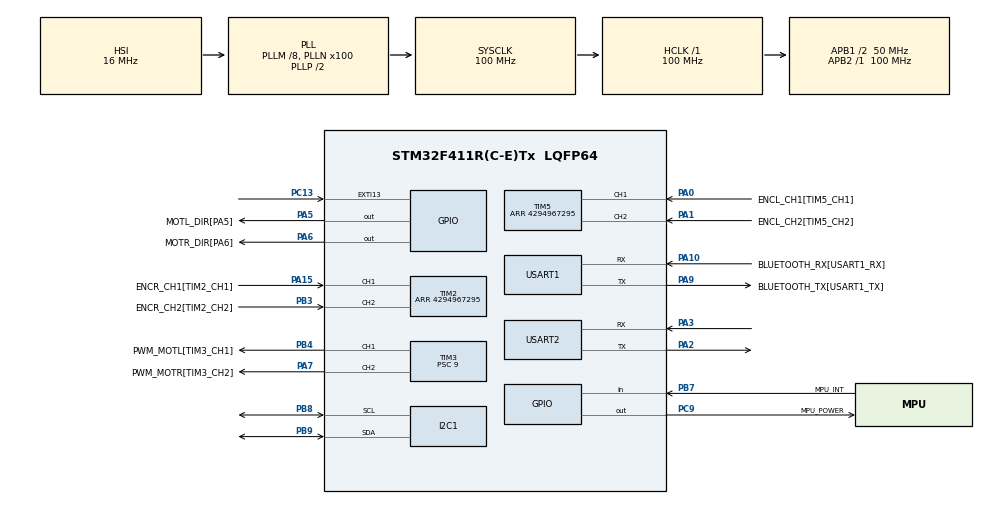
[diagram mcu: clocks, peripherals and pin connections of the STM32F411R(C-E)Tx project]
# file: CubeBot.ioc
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I2C1.I2C_Mode=I2C_Fast
Mcu.Family=STM32F4
Mcu.Name=STM32F411R(C-E)Tx
Mcu.Package=LQFP64
NVIC.I2C1_EV_IRQn=true\:0\:0\:false\:false\:true\:true
NVIC.PriorityGroup=NVIC_PRIORITYGROUP_0
NVIC.USART1_IRQn=true\:0\:0\:false\:false\:true\:true
NVIC.USART2_IRQn=true\:0\:0\:false\:false\:true\:true
PA0-WKUP.GPIO_Label=ENCL_CH1[TIM5_CH1]
PA0-WKUP.GPIO_ModeDefaultPP=GPIO_MODE_AF_PP
PA0-WKUP.GPIO_PuPd=GPIO_NOPULL
PA0-WKUP.GPIO_Speed=GPIO_SPEED_FREQ_LOW
PA0-WKUP.Signal=S_TIM5_CH1
PA1.GPIO_Label=ENCL_CH2[TIM5_CH2]
PA1.GPIO_ModeDefaultPP=GPIO_MODE_AF_PP
PA1.GPIO_PuPd=GPIO_NOPULL
PA1.GPIO_Speed=GPIO_SPEED_FREQ_LOW
PA1.Signal=S_TIM5_CH2
PA10.GPIO_Label=BLUETOOTH_RX[USART1_RX]
PA10.GPIO_Mode=GPIO_MODE_AF_PP
PA10.GPIO_PuPd=GPIO_PULLUP
PA10.GPIO_Speed=GPIO_SPEED_FREQ_VERY_HIGH
PA10.Mode=Asynchronous
PA10.Signal=USART1_RX
PA13.Signal=SYS_JTMS-SWDIO
PA14.Signal=SYS_JTCK-SWCLK
PA15.GPIO_Label=ENCR_CH1[TIM2_CH1]
PA15.GPIO_ModeDefaultPP=GPIO_MODE_AF_PP
PA15.GPIO_PuPd=GPIO_NOPULL
PA15.GPIO_Speed=GPIO_SPEED_FREQ_LOW
PA15.Signal=S_TIM2_CH1_ETR
PA2.GPIO_Mode=GPIO_MODE_AF_PP
PA2.GPIO_PuPd=GPIO_PULLUP
PA2.GPIO_Speed=GPIO_SPEED_FREQ_VERY_HIGH
PA2.Mode=Asynchronous
PA2.Signal=USART2_TX
PA3.GPIO_Mode=GPIO_MODE_AF_PP
PA3.GPIO_PuPd=GPIO_PULLUP
PA3.GPIO_Speed=GPIO_SPEED_FREQ_VERY_HIGH
PA3.Mode=Asynchronous
PA3.Signal=USART2_RX
PA5.GPIO_Label=MOTL_DIR[PA5]
PA5.Signal=GPIO_Output
PA6.GPIO_Label=MOTR_DIR[PA6]
PA6.Signal=GPIO_Output
PA7.GPIO_Label=PWM_MOTR[TIM3_CH2]
PA7.GPIO_ModeDefaultPP=GPIO_MODE_AF_PP
PA7.GPIO_PuPd=GPIO_NOPULL
PA7.GPIO_Speed=GPIO_SPEED_FREQ_LOW
PA7.Signal=S_TIM3_CH2
PA9.GPIO_Label=BLUETOOTH_TX[USART1_TX]
PA9.GPIO_Mode=GPIO_MODE_AF_PP
PA9.GPIO_PuPd=GPIO_PULLUP
PA9.GPIO_Speed=GPIO_SPEED_FREQ_VERY_HIGH
PA9.Mode=Asynchronous
PA9.Signal=USART1_TX
PB3.GPIO_Label=ENCR_CH2[TIM2_CH2]
PB3.GPIO_ModeDefaultPP=GPIO_MODE_AF_PP
PB3.GPIO_PuPd=GPIO_NOPULL
PB3.GPIO_Speed=GPIO_SPEED_FREQ_LOW
PB3.Signal=S_TIM2_CH2
PB4.GPIO_Label=PWM_MOTL[TIM3_CH1]
PB4.GPIO_ModeDefaultPP=GPIO_MODE_AF_PP
PB4.GPIO_PuPd=GPIO_NOPULL
PB4.GPIO_Speed=GPIO_SPEED_FREQ_LOW
PB4.Signal=S_TIM3_CH1
PB7.GPIO_Label=MPU_INT
PB7.GPIO_PuPd=GPIO_NOPULL
PB7.Signal=GPIO_Input
PB8.GPIO_Mode=GPIO_MODE_AF_OD
PB8.GPIO_PuPdOD=GPIO_PULLUP
PB8.GPIO_Speed=GPIO_SPEED_FREQ_VERY_HIGH
PB8.Mode=I2C
PB8.Signal=I2C1_SCL
PB9.GPIO_Mode=GPIO_MODE_AF_OD
PB9.GPIO_PuPdOD=GPIO_PULLUP
PB9.GPIO_Speed=GPIO_SPEED_FREQ_VERY_HIGH
PB9.Mode=I2C
PB9.Signal=I2C1_SDA
PC13-ANTI_TAMP.GPIO_ModeDefaultEXTI=GPIO_MODE_IT_RISING
PC13-ANTI_TAMP.GPIO_PuPd=GPIO_NOPULL
PC13-ANTI_TAMP.Signal=GPXTI13
PC14-OSC32_IN.Signal=RCC_OSC32_IN
PC15-OSC32_OUT.Signal=RCC_OSC32_OUT
PC9.GPIO_Label=MPU_POWER
PC9.GPIO_Speed=GPIO_SPEED_FREQ_HIGH
PC9.PinState=GPIO_PIN_RESET
PC9.Signal=GPIO_Output
PH0\ -\ OSC_IN.Signal=RCC_OSC_IN
PH1\ -\ OSC_OUT.Signal=RCC_OSC_OUT
ProjectManager.HeapSize=0x200
ProjectManager.StackSize=0x400
ProjectManager.TargetToolchain=TrueSTUDIO
RCC.48MHZClocksFreq_Value=50000000
RCC.AHBFreq_Value=100000000
RCC.APB1CLKDivider=RCC_HCLK_DIV2
RCC.APB1Freq_Value=50000000
RCC.APB1TimFreq_Value=100000000
RCC.APB2Freq_Value=100000000
RCC.APB2TimFreq_Value=100000000
RCC.CortexFreq_Value=100000000
RCC.FLatency-AdvancedSettings=FLASH_LATENCY_3
RCC.HCLKFreq_Value=100000000
RCC.HSE_VALUE=8000000
RCC.HSI_VALUE=16000000
RCC.LSE_VALUE=32768
RCC.PLLM=8
RCC.PLLN=100
RCC.SYSCLKFreq_VALUE=100000000
RCC.SYSCLKSource=RCC_SYSCLKSOURCE_PLLCLK
RCC.VCOOutputFreq_Value=200000000
SH.S_TIM2_CH1_ETR.0=TIM2_CH1,Encoder_Interface
SH.S_TIM2_CH2.0=TIM2_CH2,Encoder_Interface
SH.S_TIM3_CH1.0=TIM3_CH1,PWM Generation1 CH1
SH.S_TIM3_CH2.0=TIM3_CH2,PWM Generation2 CH2
SH.S_TIM5_CH1.0=TIM5_CH1,Encoder_Interface
SH.S_TIM5_CH2.0=TIM5_CH2,Encoder_Interface
TIM1.Period=65535
TIM1.Prescaler=79
TIM1.TIM_MasterOutputTrigger=TIM_TRGO_UPDATE
TIM1.TIM_MasterSlaveMode=TIM_MASTERSLAVEMODE_ENABLE
TIM2.EncoderMode=TIM_ENCODERMODE_TI12
TIM2.Period=4294967295
TIM3.Channel-PWM\ Generation1\ CH1=TIM_CHANNEL_1
TIM3.Channel-PWM\ Generation2\ CH2=TIM_CHANNEL_2
TIM3.Period=65535
TIM3.Prescaler=9
TIM3.Pulse-PWM\ Generation2\ CH2=0
TIM4.Period=65535
TIM5.EncoderMode=TIM_ENCODERMODE_TI12
TIM5.Period=4294967295
USART1.VirtualMode=VM_ASYNC
USART2.VirtualMode=VM_ASYNC
VP_TIM1_VS_ClockSourceINT.Mode=Internal
VP_TIM3_VS_ClockSourceINT.Mode=Internal
VP_TIM4_VS_ClockSourceITR.Mode=TriggerSource_ITR0
VP_TIM4_VS_ControllerModeClock.Mode=Clock Mode
board=NUCLEO-F411RE

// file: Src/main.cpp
/**
 ******************************************************************************
 * File Name          : main.c
 * Description        : Main program body
 ******************************************************************************
 ** This notice applies to any and all portions of this file
 * that are not between comment pairs USER CODE BEGIN and
 * USER CODE END. Other portions of this file, whether
 * inserted by the user or by software development tools
 * are owned by their respective copyright owners.
 *
 * COPYRIGHT(c) 2017 STMicroelectronics
 *
 * Redistribution and use in source and binary forms, with or without modification,
 * are permitted provided that the following conditions are met:
 *   1. Redistributions of source code must retain the above copyright notice,
 *      this list of conditions and the following disclaimer.
 *   2. Redistributions in binary form must reproduce the above copyright notice,
 *      this list of conditions and the following disclaimer in the documentation
 *      and/or other materials provided with the distribution.
 *   3. Neither the name of STMicroelectronics nor the names of its contributors
 *      may be used to endorse or promote products derived from this software
 *      without specific prior written permission.
 *
 * THIS SOFTWARE IS PROVIDED BY THE COPYRIGHT HOLDERS AND CONTRIBUTORS "AS IS"
 * AND ANY EXPRESS OR IMPLIED WARRANTIES, INCLUDING, BUT NOT LIMITED TO, THE
 * IMPLIED WARRANTIES OF MERCHANTABILITY AND FITNESS FOR A PARTICULAR PURPOSE ARE
 * DISCLAIMED. IN NO EVENT SHALL THE COPYRIGHT HOLDER OR CONTRIBUTORS BE LIABLE
 * FOR ANY DIRECT, INDIRECT, INCIDENTAL, SPECIAL, EXEMPLARY, OR CONSEQUENTIAL
 * DAMAGES (INCLUDING, BUT NOT LIMITED TO, PROCUREMENT OF SUBSTITUTE GOODS OR
 * SERVICES; LOSS OF USE, DATA, OR PROFITS; OR BUSINESS INTERRUPTION) HOWEVER
 * CAUSED AND ON ANY THEORY OF LIABILITY, WHETHER IN CONTRACT, STRICT LIABILITY,
 * OR TORT (INCLUDING NEGLIGENCE OR OTHERWISE) ARISING IN ANY WAY OUT OF THE USE
 * OF THIS SOFTWARE, EVEN IF ADVISED OF THE POSSIBILITY OF SUCH DAMAGE.
 *
 ******************************************************************************
 */
#include <IOSerialStream.h>
#include "main.h"
#include "stm32f4xx_hal.h"
#include "i2c.h"
#include "tim.h"
#include "usart.h"
#include "gpio.h"

/* USER CODE BEGIN Includes */
#include "Motors.h"
#include "MPU6050.h"
#include "Timer.h"
#include "BTCom.h"
#include "Encoder.h"
#include "Tests.h"
#include "Regulation.h"
#include "EEvar.h"

#include <string>

/* USER CODE END Includes */

/* USER CODE BEGIN PV */
/* Private variables ---------------------------------------------------------*/

/* USER CODE END PV */

void SystemClock_Config(void);

/* USER CODE BEGIN PFP */
/* Private function prototypes -----------------------------------------------*/

/* USER CODE END PFP */

/* USER CODE BEGIN 0 */
IOSerialStream serialUSB(&huart2) ;
BTCom serialHC06(&huart1) ;

/* USER CODE END 0 */

int main(void)
{

	/* MCU Configuration----------------------------------------------------------*/

	/* Reset of all peripherals, Initializes the Flash interface and the Systick. */
	HAL_Init();

	/* Configure the system clock */
	SystemClock_Config();

	/* Initialize all configured peripherals */
	MX_GPIO_Init();
	MX_USART1_UART_Init();
	MX_USART2_UART_Init();
	MX_I2C1_Init();
	MX_TIM3_Init();
	MX_TIM5_Init();
	MX_TIM2_Init();
	MX_TIM1_Init();
	MX_TIM4_Init();

	/* USER CODE BEGIN 2 */
	// creation of alias on HAL handles to make code more readable
	// Timers
	TIM_HandleTypeDef &htim3_PWM=htim3;
	TIM_HandleTypeDef &htim1_timebaseLSB=htim1;
	TIM_HandleTypeDef &htim4_timebaseMSB=htim4;
	TIM_HandleTypeDef &htim2_encoderRight=htim2;
	TIM_HandleTypeDef &htim5_encoderLeft=htim5;
	TIM_initPrescaler(&htim1_timebaseLSB,1000000);
	HAL_TIM_Base_Start_IT(&htim4_timebaseMSB);
	HAL_TIM_Base_Start_IT(&htim1_timebaseLSB);
	Timer::initHandlers(&htim4_timebaseMSB,&htim1_timebaseLSB);

	// UART
	UART_HandleTypeDef &huart1_hc06=huart1;
	UART_HandleTypeDef &huart2_usb=huart2;
	serialHC06.startRX(); // TODO : clean once IOSerialStream constructor issue will be fixed
	serialUSB.startRX();

	IOStreamList serials;
	serials.attachStream(serialUSB).attachStream(serialHC06);
	serials << "Hello World" << __ENDL;

    // EEPROM emulation initialization
	HAL_FLASH_Unlock();    /* Unlock the Flash Program Erase controller */
	//if(EE_Format()!=HAL_OK) Error_Handler();  /* To format EEPROM uncomment this line*/
	if(EE_Init()!=HAL_OK) Error_Handler(); 	  /* EEPROM Init */
	HAL_FLASH_Lock();     /* RElock once EEPROM initialization is finalized */

	//Motors and associated encoders initialization
	Motor motR(&htim3_PWM,TIM_CHANNEL_PWM_MOTR,MOTR_DIR_GPIO_Port,MOTR_DIR_Pin);
	Motor motL(&htim3_PWM,TIM_CHANNEL_PWM_MOTL,MOTL_DIR_GPIO_Port,MOTL_DIR_Pin);
	Encoder motREnc(&htim2_encoderRight);
	Encoder motLEnc(&htim5_encoderLeft);
	Motors motors(&motL,&motR,&motLEnc,&motREnc);

	//Gyro/Accel initialization
	MPU6050 mpu6050(&hi2c1,MPU_INT_GPIO_Port,MPU_INT_Pin,400000);
	mpu6050.attachStream(serialHC06).attachStream(serialUSB);
	MPU6050::initStatus mpuStatus;
	do {
		HAL_GPIO_WritePin(MPU_POWER_GPIO_Port,MPU_POWER_Pin,GPIO_PIN_RESET);
		HAL_Delay(1000);
		HAL_GPIO_WritePin(MPU_POWER_GPIO_Port,MPU_POWER_Pin,GPIO_PIN_SET);
		HAL_Delay(1000);
		mpuStatus=mpu6050.fullInitMPU6050();
	} while (mpuStatus!=MPU6050::OK);

	/* Control
	Angle PID : P=3.97, I=0.211, D=0.021
	AngleOffset = -2.2°
	Speed PID : P=0.42, I=0.189, D=1e-7
	=> P=0.84 apres nbre pulse/rev *2 (la vitesse est au passage divisée par 2) ?
	Regulation mode : speed
	AngleLimits=+- 15°

	*/
	HAL_FLASH_Unlock();
	EEvar<float> anglePID_P(3.97,0);
	EEvar<float> anglePID_I(0.211,1);
	EEvar<float> anglePID_D(0.021,2);
	EEvar<float> angleOffset(1.1,3);
	EEvar<float> speedPID_P(0.42,4);
	EEvar<float> speedPID_I(0.189,5);
	EEvar<float> speedPID_D(1e-7,6);
	EEvar<float> controlAngleLimit(35,7);
	// TODO use an EEVar to store Regulation_mode ???
	HAL_FLASH_Lock();

	//Regulation regul(3.97, 0.211, 0.021, 0.3, 0.7, 0.005, 1.1 , Regulation::speed, 35);
	Regulation regul(anglePID_P.getVal(),anglePID_I.getVal(),anglePID_D.getVal(),
			speedPID_P.getVal(),speedPID_I.getVal(),speedPID_D.getVal(),
			angleOffset.getVal(), Regulation::speed, controlAngleLimit.getVal() );
	//regul.setJoystickAngleGain(1);
	regul.setJoystickSpeedGain(0.25);
	regul.setJoystickAngleGain(0.35);

	/* USER CODE END 2 */

	/* Infinite loop */
	/* USER CODE BEGIN WHILE */

	/* Tests section BEGIN */
	/*
  Tests::setObjectsRefs(&motR,&motL,&motREnc,&motLEnc,&motors,&mpu6050,&serialUSB,&serialHC06);
  Tests::procTestMotorLinearity();
	 */
	/* Tests section END */

	Timer globalTimer,loopTimer;
	loopTimer.start();    // used to measure elapsed time in main forever loop
	globalTimer.start();  // used to measure global runtime
	TimeOut timeout;
	timeout.setTimeOut(1000000*2);
	regul.setMotorsState(true);
	int displayIteration=0;

	//float myLog [4][1000];
	//uint16_t logIndex=0;

	while (1)
	{
		loopTimer.reset();
		if(mpu6050.update()) // if new data are available from mpu6050, update regul
		{
			motors.computeSpeed();
			regul.update(globalTimer.read_us(),mpu6050.pitch(),motors.getSpeed());
			motors.setPWM(regul.getLeftMotorPWM(),regul.getRightMotorPWM());
			/*
			if((globalTimer.read()>10) && (logIndex<1000)) {
				myLog[0][logIndex]=globalTimer.read();
				myLog[1][logIndex]=regul.getMeasuredAngle();
				myLog[2][logIndex]=regul.getMeasuredSpeed();
				myLog[3][logIndex]=regul.getRightMotorPWM();
				//myLog[3][logIndex]=(regul.getLeftMotorPWM()+regul.getRightMotorPWM())/2;
				logIndex++;
			}*/
		};
/*
		if((999<logIndex)&&(logIndex<2000)){
			if(serialHC06.getTxBufferSize()==0){
				uint16_t tmpIndex=logIndex-1000;
				serialHC06 << tmpIndex << ";";
				serialHC06 << myLog[0][tmpIndex]-myLog[0][0] << ";";
				serialHC06 << myLog[1][tmpIndex] << ";";
				serialHC06 << myLog[2][tmpIndex] << ";";
				serialHC06 << myLog[3][tmpIndex] << "\n";
				logIndex++;
			}
		}
*/
		// check if new command have been received from bluetooth link
		SerialCommand command=serialHC06.getSerialCommand();
		std::vector<float> values=command.getValues();
		switch(command.getCommand()) {
		case SerialCommand::NOP:
			break;
		case SerialCommand::saveDataToEEPROM:
			HAL_FLASH_Unlock(); // necessary to allow writing
			anglePID_P.write(); // Todo operation on a list of EEVar?
			anglePID_I.write();
			anglePID_D.write();
			angleOffset.write();
			speedPID_P.write();
			speedPID_I.write();
			speedPID_D.write();
			controlAngleLimit.write();
			HAL_FLASH_Lock();
			break;
		case SerialCommand::setAnglePIDValueP:
			anglePID_P.setRamVal(values.at(0));
			regul.getPIDAngle()->setPTuning(anglePID_P.getVal());
			break;
		case SerialCommand::setAnglePIDValueI:
			anglePID_I.setRamVal(values.at(0));
			regul.getPIDAngle()->setITuning(anglePID_I.getVal());
			break;
		case SerialCommand::setAnglePIDValueD:
			anglePID_D.setRamVal(values.at(0));
			regul.getPIDAngle()->setDTuning(anglePID_D.getVal());
			break;
		case SerialCommand::setJoystickXY:
			regul.setJoyStickValue(values.at(0),values.at(1)); break;
		case SerialCommand::setJoystickY:
			regul.setJoyStickYValue(values.at(0)); break;
		case SerialCommand::setJoystickX:
			regul.setJoyStickXValue(values.at(0)); break;
		case SerialCommand::setAngleOffset:
			angleOffset.setRamVal(values.at(0));
			regul.setAngleOffset(angleOffset.getVal());
			break;
		case SerialCommand::setSpeedRegulMode:
			regul.setRegulationMode(Regulation::speed); break;
		case SerialCommand::setAngleRegulMode:
			regul.setRegulationMode(Regulation::angle); break;
		case SerialCommand::setSpeedPIDValueP:
			speedPID_P.setRamVal(values.at(0));
			regul.getPIDSpeed()->setPTuning(speedPID_P.getVal());
			break;
		case SerialCommand::setSpeedPIDValueI:
			speedPID_I.setRamVal(values.at(0));
			regul.getPIDSpeed()->setITuning(speedPID_I.getVal());
			break;
		case SerialCommand::setSpeedPIDValueD:
			speedPID_D.setRamVal(values.at(0));
			regul.getPIDSpeed()->setDTuning(speedPID_D.getVal());
			break;
		case SerialCommand::setControlAngleLimit:
			controlAngleLimit.setRamVal(values.at(0));
			regul.setControlAngleLimit(controlAngleLimit.getVal());
			break;
		case SerialCommand::formatEEPROM:
			HAL_FLASH_Unlock();
			if(EE_Format()!=HAL_OK) Error_Handler();
			if(EE_Init()!=HAL_OK) Error_Handler();
			HAL_FLASH_Lock();
			break;
		case SerialCommand::sendPIDValues:
			serialHC06 << "AnglePID settings :" << "\n";
			serialHC06 << "P : " << regul.getPIDAngle()->getPParam() << "\n";
			serialHC06 << "I : " << regul.getPIDAngle()->getIParam() << "\n";
			serialHC06 << "D : " << regul.getPIDAngle()->getDParam() << "\n";
			serialHC06 << "Target : " << regul.getAngleOffset() << "\n";
			serialHC06 << "SpeedPID settings :" << "\n";
			serialHC06 << "P : " << regul.getPIDSpeed()->getPParam() << "\n";
			serialHC06 << "I : " << regul.getPIDSpeed()->getIParam() << "\n";
			serialHC06 << "D : " << regul.getPIDSpeed()->getDParam() << "\n";
			serialHC06 << "Angle Limit : " << regul.getControlAngleLimit() << "\n";
			serialHC06 << "Regulation mode : " ;
			switch(regul.getRegulMode()) {
			case Regulation::angle: serialHC06 << "angle\n" ; break;
			case Regulation::speed: serialHC06 << "speed\n" ; break;
			case Regulation::pos: serialHC06 << "position\n" ; break;
			}
			serialHC06 << "\n";
			break;
		default:
			serialUSB << "unknown : " << command.getStringCommand() << __ENDL;
			serialHC06 << "unknown : " << command.getStringCommand() << "\n";
			break;
		}
		if(command.getCommand()!=SerialCommand::NOP){
			serialUSB << command.getStringCommand() << "(";
			serialHC06 << command.getStringCommand() << "(";
			for (uint16_t i = 0; i < values.size(); ++i) {
				serialUSB << values.at(i);
				serialHC06 << values.at(i);
				if(i<(values.size()-1)) {
					serialUSB << "," ;
					serialHC06 << "," ;
				}
			}
			serialUSB << ")\n\r";
			serialHC06 << ")\n";
		}
		if(loopTimer.read() < 1e-4) {
			if(timeout.repeatedTimeoutCheck()) { // display values periodically
			// /!\ diplay of 1 float variable cost about 120us.
				displayIteration++;
				serialHC06  << "runtime : " << globalTimer.read() << "\n";
				serialHC06 << "Regul : " ;
				switch(regul.getRegulMode()) {
					case Regulation::angle: serialHC06 << "angle\n" ; break;
					case Regulation::speed: serialHC06 << "speed\n" ; break;
					case Regulation::pos: serialHC06 << "position\n" ; break;
				}
				serialHC06 << "target/meas angle : " << regul.getTargetAngle() << "/" << regul.getMeasuredAngle() << "\n";
				serialHC06 << "target/meas speed : " << regul.getTargetSpeed() << "/" << regul.getMeasuredSpeed() << "\n";
				Motors::position_t position=motors.getPosition();
				serialHC06 << "Position (x/y/azimut) : " << position.x << "/" << position.y << "/" << 180.0/3.141592654*position.azimut << "\n";

				// mpu6050.m_StatLogList.print(&serialHC06,true);
				// mpu6050.m_StatLogList.resetAllStatLog();
			}
			/*
            mpu.m_StatLogList.print(&pc,true);
            mpu.m_StatLogList.resetAllStatLog();
			  */

		}
		/* USER CODE END WHILE */

	}

}

/** System Clock Configuration
 */
void SystemClock_Config(void)
{

	RCC_OscInitTypeDef RCC_OscInitStruct;
	RCC_ClkInitTypeDef RCC_ClkInitStruct;

	/**Configure the main internal regulator output voltage
	 */
	__HAL_RCC_PWR_CLK_ENABLE();

	__HAL_PWR_VOLTAGESCALING_CONFIG(PWR_REGULATOR_VOLTAGE_SCALE1);

	/**Initializes the CPU, AHB and APB busses clocks
	 */
	RCC_OscInitStruct.OscillatorType = RCC_OSCILLATORTYPE_HSI;
	RCC_OscInitStruct.HSIState = RCC_HSI_ON;
	RCC_OscInitStruct.HSICalibrationValue = 16;
	RCC_OscInitStruct.PLL.PLLState = RCC_PLL_ON;
	RCC_OscInitStruct.PLL.PLLSource = RCC_PLLSOURCE_HSI;
	RCC_OscInitStruct.PLL.PLLM = 8;
	RCC_OscInitStruct.PLL.PLLN = 100;
	RCC_OscInitStruct.PLL.PLLP = RCC_PLLP_DIV2;
	RCC_OscInitStruct.PLL.PLLQ = 4;
	if (HAL_RCC_OscConfig(&RCC_OscInitStruct) != HAL_OK)
	{
		__Error_Handler(__FILE__, __LINE__);
	}

	/**Initializes the CPU, AHB and APB busses clocks
	 */
	RCC_ClkInitStruct.ClockType = RCC_CLOCKTYPE_HCLK|RCC_CLOCKTYPE_SYSCLK
			|RCC_CLOCKTYPE_PCLK1|RCC_CLOCKTYPE_PCLK2;
	RCC_ClkInitStruct.SYSCLKSource = RCC_SYSCLKSOURCE_PLLCLK;
	RCC_ClkInitStruct.AHBCLKDivider = RCC_SYSCLK_DIV1;
	RCC_ClkInitStruct.APB1CLKDivider = RCC_HCLK_DIV2;
	RCC_ClkInitStruct.APB2CLKDivider = RCC_HCLK_DIV1;

	if (HAL_RCC_ClockConfig(&RCC_ClkInitStruct, FLASH_LATENCY_3) != HAL_OK)
	{
		__Error_Handler(__FILE__, __LINE__);
	}

	/**Configure the Systick interrupt time
	 */
	HAL_SYSTICK_Config(HAL_RCC_GetHCLKFreq()/1000);

	/**Configure the Systick
	 */
	HAL_SYSTICK_CLKSourceConfig(SYSTICK_CLKSOURCE_HCLK);

	/* SysTick_IRQn interrupt configuration */
	HAL_NVIC_SetPriority(SysTick_IRQn, 0, 0);
}

/* USER CODE BEGIN 4 */

void HAL_TIM_PeriodElapsedCallback(TIM_HandleTypeDef *htim)
{
	//	if (htim->Instance == TIM1) {TIM1UpdateItFlag=1;};
}

void HAL_UART_RxCpltCallback(UART_HandleTypeDef *huart)
{
	if(huart->Instance==USART1) // USART2=USB, USART1=HC06
		serialHC06.RxCpltCallback();
	else if(huart->Instance==USART2) // USART2=USB, USART1=HC06
		serialUSB.RxCpltCallback();
}

void HAL_UART_ErrorCallback(UART_HandleTypeDef *huart) {
	__NOP();
}

void HAL_UART_TxCpltCallback(UART_HandleTypeDef *huart)
{
	if(huart->Instance==USART1) // USART2=USB, USART1=HC06
		serialHC06.TxCpltCallback();
	else if(huart->Instance==USART2) // USART2=USB, USART1=HC06
		serialUSB.TxCpltCallback();
}

/* USER CODE END 4 */

void __Error_Handler(char * file, int line)
{
	while(1)
	{
	}
}

/************************ (C) COPYRIGHT STMicroelectronics *****END OF FILE****/
